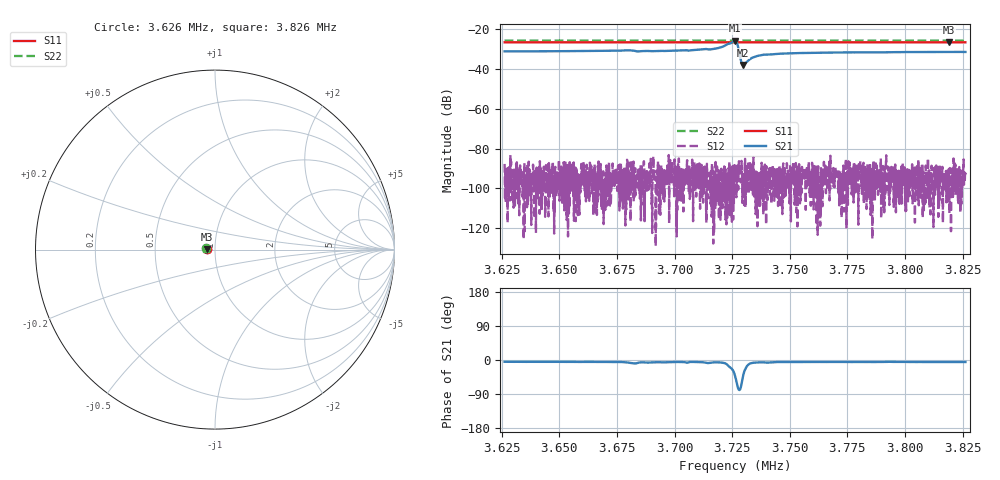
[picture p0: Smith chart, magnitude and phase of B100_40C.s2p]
# Hz S dB R 50.000
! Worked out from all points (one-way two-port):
!   6401 points, 3.626 MHz to 3.826 MHz, reference 50 ohm
!   highest |S21| = -25.90 dB at 3.726 MHz (marker M1); lowest = -38.1 dB at 3.73 MHz (marker M2)
!   lowest |S11| = -26.8 dB at 3.819 MHz (marker M3), VSWR 1.10, Z = 45.6 + j0.357 ohm
!   |S11| at or under -10 dB: start of sweep to end of sweep
!   |S22| runs from -25.9 to -25.8 dB; largest |S21 - S12| = 0.051
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3626250  -26.74 173.5  -31.27 -4.7  -87.74 57.9  -25.81 171.8
3659594  -26.74 173.8  -31.15 -5.1  -89.76 92.2  -25.83 172.1
3679750  -26.75 174.0  -30.73 -6.7  -94.41 25.1  -25.85 172.3
3684156  -26.75 174.0  -31.33 -7.2  -91.94 28.8  -25.85 172.3
3692938  -26.75 174.1  -31.10 -5.7  -90.25 4.5  -25.85 172.4
3716094  -26.75 174.3  -30.21 -6.5  -99.64 176.3  -25.87 172.6
3720250  -26.75 174.3  -29.21 -6.7  -92.37 -42.1  -25.87 172.7
3726250  -26.76 174.4  -25.90 -41.2  -93.42 7.1  -25.87 172.6
3726719  -26.75 174.4  -26.13 -52.7  -90.71 29.5  -25.87 172.7
3727188  -26.76 174.4  -27.21 -65.6  -88.59 35.3  -25.87 172.7
3727688  -26.76 174.4  -29.46 -76.0  -96.90 105.1  -25.87 172.7
3728875  -26.75 174.4  -36.21 -69.5  -95.27 73.7  -25.87 172.7
3729281  -26.76 174.4  -37.61 -57.1  -91.89 62.8  -25.87 172.7
3729688  -26.76 174.4  -38.09 -44.0  -91.79 -15.8  -25.87 172.7
3730438  -26.76 174.4  -37.54 -27.7  -90.29 51.2  -25.88 172.7
3732656  -26.76 174.4  -35.26 -9.8  -92.17 7.3  -25.88 172.8
3734156  -26.76 174.4  -34.28 -7.3  -89.39 36.8  -25.87 172.7
3738156  -26.76 174.5  -33.06 -6.1  -106.14 114.2  -25.87 172.8
3759594  -26.76 174.7  -32.01 -5.1  -91.55 17.4  -25.89 173.0
3792938  -26.77 174.9  -31.73 -4.8  -95.26 -84.7  -25.91 173.3
3819062  -26.79 175.1  -31.59 -5.3  -90.25 -75.1  -25.92 173.5
3826250  -26.78 175.1  -31.58 -5.3  -92.33 172.5  -25.93 173.6
